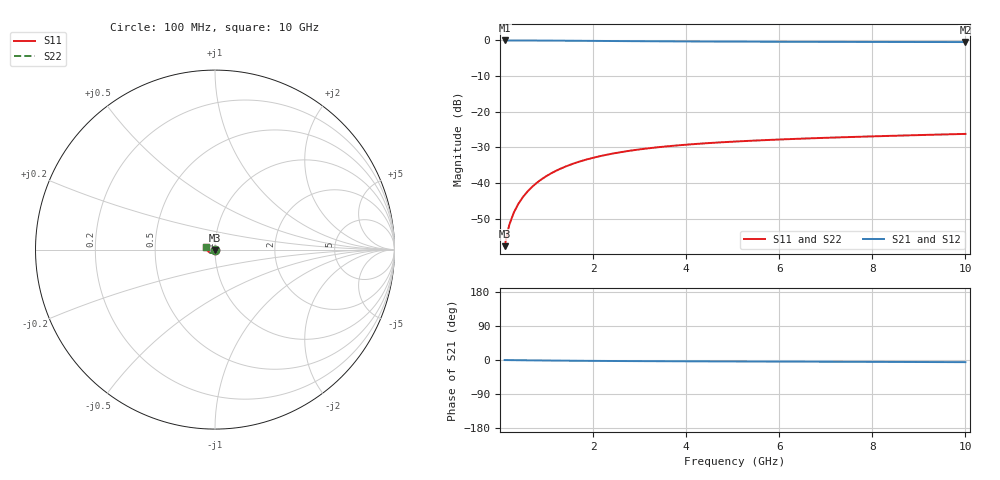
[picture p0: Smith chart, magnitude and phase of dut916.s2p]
! Touchstone file exported from HFSS 2024.1.0
!  File:  C:/UserFiles/LocalFiles/RDL_TSV_Batchsim/temp_TSV1_916_1779945735.aedt
!  Generated:  01:28:00 PM May 28, 2026
!  Design:  TSV1
!  Project:  temp_TSV1_916_1779945735
!  Setup:  Setup1
!  Solution:  Sweep
! Variables:
!  dtsv = 10.43um
!  hbump = 3um
!  htsv = 87.09um
!  lrdl = 252.1521522um
!  p = 40
!  p1 = 58.89um
!  t = 500um
!  trdl = 3um
!  wrdl = 24.89489489um
# GHz S MA R 50.000000
! Terminal data exported
! Port[1] = TSV22_T1
! Port[2] = TSV22_T2
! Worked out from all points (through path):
!   100 points, 100 MHz to 10 GHz, reference 50 ohm
!   highest |S21| = 0.00 dB at 100 MHz (marker M1); lowest = -0.5 dB at 10 GHz (marker M2)
!   lowest |S11| = -57.7 dB at 100 MHz (marker M3), VSWR 1.00, Z = 50 - j0.131 ohm
!   |S11| at or under -10 dB: start of sweep to end of sweep
!   |S22| runs from -57.7 to -26.2 dB; largest |S21 - S12| = 3e-15
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0.1  0.001309 -86.0  0.9998 -0.1  0.9998 -0.1  0.001309 -86.0
! Gamma 0 0 0 0
! Port Impedance 50 0 50 0
0.2  0.002607 -91.0  0.9997 -0.3  0.9997 -0.3  0.002607 -91.0
0.3  0.003905 -94.0  0.9994 -0.4  0.9994 -0.4  0.003905 -94.0
0.4  0.005196 -96.5  0.9991 -0.6  0.9991 -0.6  0.005196 -96.5
0.5  0.006477 -98.9  0.9986 -0.7  0.9986 -0.7  0.006477 -98.9
0.6  0.007743 -101.1  0.9981 -0.8  0.9981 -0.8  0.007743 -101.1
0.7  0.00899 -103.3  0.9975 -1.0  0.9975 -1.0  0.00899 -103.3
0.8  0.01022 -105.4  0.9969 -1.1  0.9969 -1.1  0.01022 -105.4
0.9  0.01142 -107.5  0.9962 -1.2  0.9962 -1.2  0.01142 -107.5
1.1  0.01374 -111.5  0.9946 -1.4  0.9946 -1.4  0.01374 -111.5
1.4  0.017 -117.2  0.9919 -1.8  0.9919 -1.8  0.017 -117.2
1.6  0.01902 -120.9  0.9899 -2.0  0.9899 -2.0  0.01902 -120.9
1.8  0.0209 -124.3  0.9879 -2.1  0.9879 -2.1  0.0209 -124.3
2.1  0.02349 -129.3  0.9848 -2.4  0.9848 -2.4  0.02349 -129.3
2.5  0.02653 -135.4  0.9808 -2.7  0.9808 -2.7  0.02653 -135.4
2.9  0.02913 -140.9  0.9771 -2.9  0.9771 -2.9  0.02914 -140.9
3.4  0.03189 -147.2  0.9729 -3.2  0.9729 -3.2  0.03189 -147.2
4.2  0.0354 -155.9  0.9672 -3.5  0.9672 -3.5  0.0354 -155.9
5.1  0.03844 -164.2  0.9623 -3.9  0.9623 -3.9  0.03844 -164.2
6.7  0.04255 -176.2  0.9562 -4.5  0.9562 -4.5  0.04255 -176.2
8.4  0.04604 173.5  0.9521 -5.1  0.9521 -5.1  0.04604 173.5
10  0.04902 165.4  0.9495 -5.7  0.9495 -5.7  0.04902 165.4
